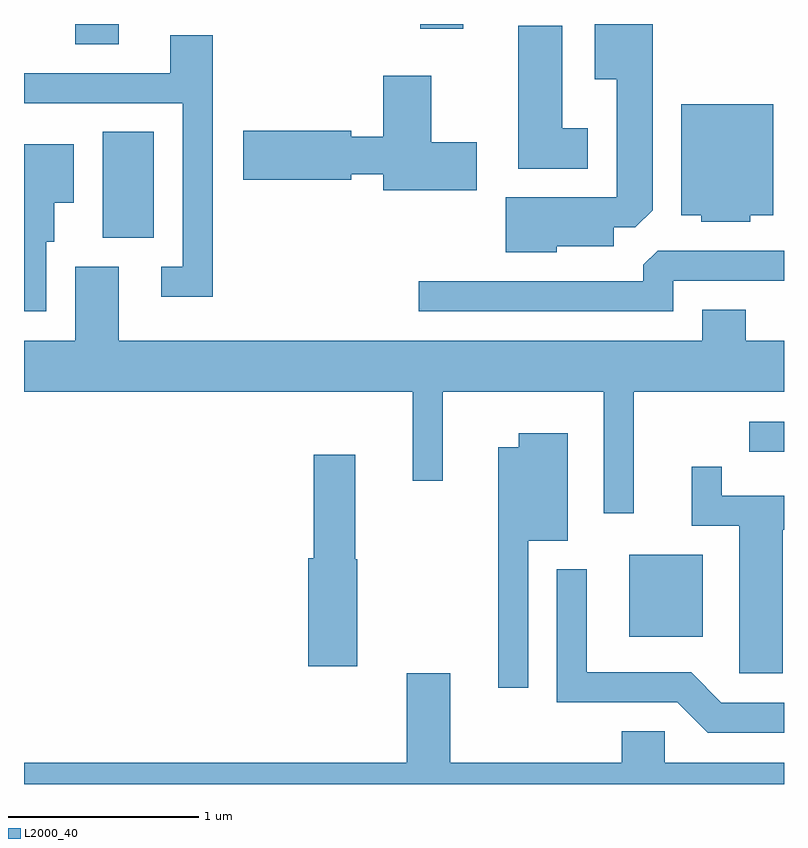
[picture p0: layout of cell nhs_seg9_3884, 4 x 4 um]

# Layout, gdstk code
import gdstk
lib = gdstk.Library(unit=1e-6, precision=1e-09)
def R(c, l, rs):  # rectangles x0, y0, x1, y1
    for r in rs: c.add(gdstk.rectangle(r[:2], r[2:], *l))
def P(c, l, *ps):  # polygons
    for p in ps: c.add(gdstk.Polygon(p, *l))
L2000_40 = (2000, 40)

nhs_seg9_3884 = lib.new_cell('nhs_seg9_3884')
R(nhs_seg9_3884, L2000_40, [(302.796,1977.206,303.184,1977.639), (303.428,1978.181,303.611,1978.339), (300.026,1979.306,300.294,1979.864), (299.881,1980.326,300.109,1980.432), (301.696,1980.406,301.924,1980.432)])
P(nhs_seg9_3884, L2000_40, [(302.414,1979.261),(302.714,1979.261),(302.714,1979.361),(302.829,1979.361),(302.919,1979.452),(302.919,1980.432),(302.616,1980.432),(302.616,1980.141),(302.731,1980.141),(302.731,1979.519),(302.146,1979.519),(302.146,1979.231),(302.414,1979.231)],
  [(302.579,1979.884),(302.444,1979.884),(302.444,1980.424),(302.211,1980.424),(302.211,1979.671),(302.579,1979.671)],
  [(300.604,1980.374),(300.381,1980.374),(300.381,1980.174),(299.611,1980.174),(299.611,1980.016),(300.446,1980.016),(300.446,1979.154),(300.333,1979.154),(300.333,1978.996),(300.604,1978.996)],
  [(301.994,1979.809),(301.754,1979.809),(301.754,1980.159),(301.501,1980.159),(301.501,1979.839),(301.334,1979.839),(301.334,1979.869),(300.766,1979.869),(300.766,1979.611),(301.334,1979.611),(301.334,1979.641),(301.501,1979.641),(301.501,1979.556),(301.994,1979.556)],
  [(303.434,1979.426),(303.554,1979.426),(303.554,1980.009),(303.071,1980.009),(303.071,1979.426),(303.176,1979.426),(303.176,1979.391),(303.434,1979.391)],
  [(299.729,1979.286),(299.769,1979.286),(299.769,1979.491),(299.874,1979.491),(299.874,1979.799),(299.611,1979.799),(299.611,1978.921),(299.729,1978.921)],
  [(303.029,1979.081),(303.611,1979.081),(303.611,1979.239),(302.947,1979.239),(302.871,1979.164),(302.871,1979.079),(301.688,1979.079),(301.688,1978.921),(303.029,1978.921)],
  [(302.819,1978.496),(303.611,1978.496),(303.611,1978.764),(303.409,1978.764),(303.409,1978.929),(303.181,1978.929),(303.181,1978.764),(300.109,1978.764),(300.109,1979.154),(299.881,1979.154),(299.881,1978.764),(299.611,1978.764),(299.611,1978.496),(301.656,1978.496),(301.656,1978.028),(301.814,1978.028),(301.814,1978.496),(302.661,1978.496),(302.661,1977.858),(302.819,1977.858)],
  [(302.264,1977.711),(302.474,1977.711),(302.474,1978.279),(302.216,1978.279),(302.216,1978.204),(302.106,1978.204),(302.106,1976.938),(302.264,1976.938)],
  [(301.364,1977.615),(301.354,1977.615),(301.354,1978.164),(301.136,1978.164),(301.136,1977.619),(301.106,1977.619),(301.106,1977.051),(301.364,1977.051)],
  [(303.604,1977.771),(303.611,1977.771),(303.611,1977.949),(303.284,1977.949),(303.284,1978.103),(303.126,1978.103),(303.126,1977.791),(303.376,1977.791),(303.376,1977.016),(303.604,1977.016)],
  [(303.611,1976.859),(303.282,1976.859),(303.122,1977.019),(302.574,1977.019),(302.574,1977.563),(302.416,1977.563),(302.416,1976.861),(303.049,1976.861),(303.209,1976.701),(303.611,1976.701)],
  [(303.611,1976.544),(302.984,1976.544),(302.984,1976.709),(302.756,1976.709),(302.756,1976.544),(301.854,1976.544),(301.854,1977.014),(301.626,1977.014),(301.626,1976.544),(299.611,1976.544),(299.611,1976.432),(303.611,1976.432)])

lib.write_gds('nhs_seg9_3884.gds')
